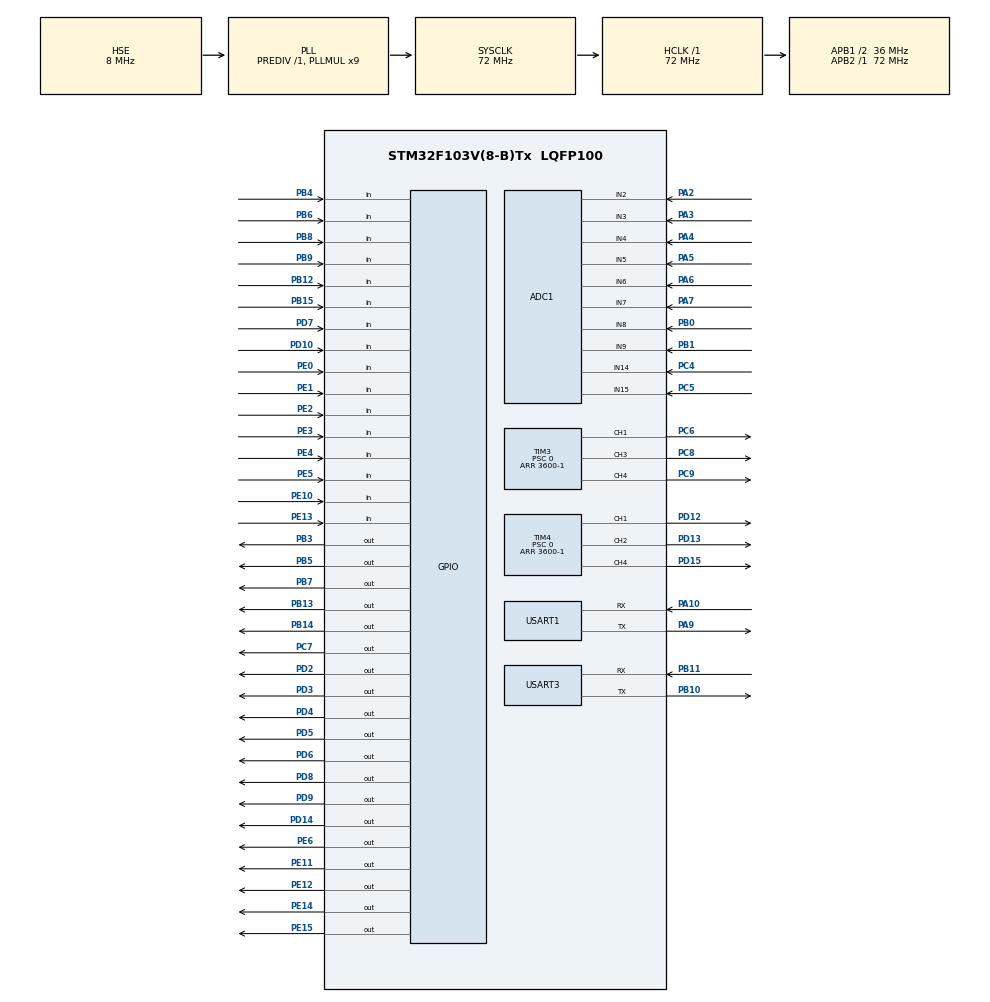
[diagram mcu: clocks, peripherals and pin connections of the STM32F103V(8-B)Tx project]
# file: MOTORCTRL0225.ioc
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ADC1.Channel-0\#ChannelRegularConversion=ADC_CHANNEL_2
ADC1.Channel-1\#ChannelRegularConversion=ADC_CHANNEL_3
ADC1.Channel-10\#ChannelRegularConversion=ADC_CHANNEL_14
ADC1.Channel-11\#ChannelRegularConversion=ADC_CHANNEL_15
ADC1.Channel-2\#ChannelRegularConversion=ADC_CHANNEL_4
ADC1.Channel-3\#ChannelRegularConversion=ADC_CHANNEL_5
ADC1.Channel-4\#ChannelRegularConversion=ADC_CHANNEL_6
ADC1.Channel-5\#ChannelRegularConversion=ADC_CHANNEL_7
ADC1.Channel-8\#ChannelRegularConversion=ADC_CHANNEL_8
ADC1.Channel-9\#ChannelRegularConversion=ADC_CHANNEL_9
ADC1.ContinuousConvMode=ENABLE
ADC1.DataAlign=ADC_DATAALIGN_RIGHT
ADC1.DiscontinuousConvMode=DISABLE
ADC1.EnableAnalogWatchDog=false
ADC1.EnableRegularConversion=ENABLE
ADC1.ExternalTrigConv=ADC_SOFTWARE_START
ADC1.InjNumberOfConversion=0
ADC1.NbrOfConversion=10
ADC1.NbrOfConversionFlag=1
ADC1.Rank-0\#ChannelRegularConversion=1
ADC1.Rank-1\#ChannelRegularConversion=2
ADC1.Rank-10\#ChannelRegularConversion=9
ADC1.Rank-11\#ChannelRegularConversion=10
ADC1.Rank-2\#ChannelRegularConversion=3
ADC1.Rank-3\#ChannelRegularConversion=4
ADC1.Rank-4\#ChannelRegularConversion=5
ADC1.Rank-5\#ChannelRegularConversion=6
ADC1.Rank-8\#ChannelRegularConversion=7
ADC1.Rank-9\#ChannelRegularConversion=8
ADC1.SamplingTime-0\#ChannelRegularConversion=ADC_SAMPLETIME_239CYCLES_5
ADC1.SamplingTime-1\#ChannelRegularConversion=ADC_SAMPLETIME_239CYCLES_5
ADC1.SamplingTime-10\#ChannelRegularConversion=ADC_SAMPLETIME_1CYCLE_5
ADC1.SamplingTime-11\#ChannelRegularConversion=ADC_SAMPLETIME_1CYCLE_5
ADC1.SamplingTime-2\#ChannelRegularConversion=ADC_SAMPLETIME_239CYCLES_5
ADC1.SamplingTime-3\#ChannelRegularConversion=ADC_SAMPLETIME_239CYCLES_5
ADC1.SamplingTime-4\#ChannelRegularConversion=ADC_SAMPLETIME_239CYCLES_5
ADC1.SamplingTime-5\#ChannelRegularConversion=ADC_SAMPLETIME_239CYCLES_5
ADC1.SamplingTime-8\#ChannelRegularConversion=ADC_SAMPLETIME_1CYCLE_5
ADC1.SamplingTime-9\#ChannelRegularConversion=ADC_SAMPLETIME_1CYCLE_5
ADC1.ScanConvMode=ADC_SCAN_ENABLE
ADC1.master=1
Dma.ADC1.4.Direction=DMA_PERIPH_TO_MEMORY
Dma.ADC1.4.Instance=DMA1_Channel1
Dma.ADC1.4.MemDataAlignment=DMA_MDATAALIGN_HALFWORD
Dma.ADC1.4.MemInc=DMA_MINC_ENABLE
Dma.ADC1.4.Mode=DMA_CIRCULAR
Dma.ADC1.4.PeriphDataAlignment=DMA_PDATAALIGN_HALFWORD
Dma.ADC1.4.PeriphInc=DMA_PINC_DISABLE
Dma.ADC1.4.Priority=DMA_PRIORITY_LOW
Dma.Request0=USART3_RX
Dma.Request1=USART3_TX
Dma.Request2=USART1_RX
Dma.Request3=USART1_TX
Dma.Request4=ADC1
Dma.USART1_RX.2.Direction=DMA_PERIPH_TO_MEMORY
Dma.USART1_RX.2.Instance=DMA1_Channel5
Dma.USART1_RX.2.MemDataAlignment=DMA_MDATAALIGN_BYTE
Dma.USART1_RX.2.MemInc=DMA_MINC_ENABLE
Dma.USART1_RX.2.Mode=DMA_CIRCULAR
Dma.USART1_RX.2.PeriphDataAlignment=DMA_PDATAALIGN_BYTE
Dma.USART1_RX.2.PeriphInc=DMA_PINC_DISABLE
Dma.USART1_RX.2.Priority=DMA_PRIORITY_LOW
Dma.USART1_TX.3.Direction=DMA_MEMORY_TO_PERIPH
Dma.USART1_TX.3.Instance=DMA1_Channel4
Dma.USART1_TX.3.MemDataAlignment=DMA_MDATAALIGN_BYTE
Dma.USART1_TX.3.MemInc=DMA_MINC_ENABLE
Dma.USART1_TX.3.Mode=DMA_NORMAL
Dma.USART1_TX.3.PeriphDataAlignment=DMA_PDATAALIGN_BYTE
Dma.USART1_TX.3.PeriphInc=DMA_PINC_DISABLE
Dma.USART1_TX.3.Priority=DMA_PRIORITY_LOW
Dma.USART3_RX.0.Direction=DMA_PERIPH_TO_MEMORY
Dma.USART3_RX.0.Instance=DMA1_Channel3
Dma.USART3_RX.0.MemDataAlignment=DMA_MDATAALIGN_BYTE
Dma.USART3_RX.0.MemInc=DMA_MINC_ENABLE
Dma.USART3_RX.0.Mode=DMA_NORMAL
Dma.USART3_RX.0.PeriphDataAlignment=DMA_PDATAALIGN_BYTE
Dma.USART3_RX.0.PeriphInc=DMA_PINC_DISABLE
Dma.USART3_RX.0.Priority=DMA_PRIORITY_LOW
Dma.USART3_TX.1.Direction=DMA_MEMORY_TO_PERIPH
Dma.USART3_TX.1.Instance=DMA1_Channel2
Dma.USART3_TX.1.MemDataAlignment=DMA_MDATAALIGN_BYTE
Dma.USART3_TX.1.MemInc=DMA_MINC_ENABLE
Dma.USART3_TX.1.Mode=DMA_CIRCULAR
Dma.USART3_TX.1.PeriphDataAlignment=DMA_PDATAALIGN_BYTE
Dma.USART3_TX.1.PeriphInc=DMA_PINC_DISABLE
Dma.USART3_TX.1.Priority=DMA_PRIORITY_LOW
FREERTOS.Tasks01=defaultTask,0,128,StartDefaultTask,Default,NULL,Dynamic,NULL,NULL;myTask02,-3,128,StartTask02,Default,NULL,Dynamic,NULL,NULL;myTask03,-3,128,StartTask03,Default,NULL,Dynamic,NULL,NULL
IWDG.Prescaler=IWDG_PRESCALER_256
Mcu.Family=STM32F1
Mcu.Name=STM32F103V(8-B)Tx
Mcu.Package=LQFP100
NVIC.DMA1_Channel1_IRQn=true\:5\:0\:false\:false\:true\:true\:false
NVIC.DMA1_Channel2_IRQn=true\:5\:0\:false\:false\:true\:true\:false
NVIC.DMA1_Channel3_IRQn=true\:5\:0\:false\:false\:true\:true\:false
NVIC.DMA1_Channel4_IRQn=true\:5\:0\:false\:false\:true\:true\:false
NVIC.DMA1_Channel5_IRQn=true\:5\:0\:false\:false\:true\:true\:false
NVIC.PriorityGroup=NVIC_PRIORITYGROUP_4
NVIC.TIM2_IRQn=true\:5\:0\:false\:false\:true\:true\:true
NVIC.USART1_IRQn=true\:5\:0\:false\:false\:true\:true\:true
NVIC.USART3_IRQn=true\:5\:0\:false\:false\:true\:true\:true
OSC_IN.Mode=HSE-External-Oscillator
OSC_IN.Signal=RCC_OSC_IN
OSC_OUT.Mode=HSE-External-Oscillator
OSC_OUT.Signal=RCC_OSC_OUT
PA10.Mode=Asynchronous
PA10.Signal=USART1_RX
PA13.Mode=Serial_Wire
PA13.Signal=SYS_JTMS-SWDIO
PA14.Mode=Serial_Wire
PA14.Signal=SYS_JTCK-SWCLK
PA2.Signal=ADCx_IN2
PA3.Signal=ADCx_IN3
PA4.Signal=ADCx_IN4
PA5.Signal=ADCx_IN5
PA6.Signal=ADCx_IN6
PA7.Signal=ADCx_IN7
PA9.Mode=Asynchronous
PA9.Signal=USART1_TX
PB0.Signal=ADCx_IN8
PB1.Signal=ADCx_IN9
PB10.Mode=Asynchronous
PB10.Signal=USART3_TX
PB11.Mode=Asynchronous
PB11.Signal=USART3_RX
PB12.Signal=GPIO_Input
PB13.Signal=GPIO_Output
PB14.Signal=GPIO_Output
PB15.Signal=GPIO_Input
PB3.GPIO_Speed=GPIO_SPEED_FREQ_HIGH
PB3.Signal=GPIO_Output
PB4.Signal=GPIO_Input
PB5.Signal=GPIO_Output
PB6.Signal=GPIO_Input
PB7.Signal=GPIO_Output
PB8.Signal=GPIO_Input
PB9.GPIO_PuPd=GPIO_NOPULL
PB9.Signal=GPIO_Input
PC4.Signal=ADCx_IN14
PC5.Signal=ADCx_IN15
PC6.Signal=S_TIM3_CH1
PC7.Signal=GPIO_Output
PC8.Signal=S_TIM3_CH3
PC9.Signal=S_TIM3_CH4
PD10.Signal=GPIO_Input
PD12.Signal=S_TIM4_CH1
PD13.Signal=S_TIM4_CH2
PD14.Signal=GPIO_Output
PD15.Signal=S_TIM4_CH4
PD2.Signal=GPIO_Output
PD3.Signal=GPIO_Output
PD4.Signal=GPIO_Output
PD5.Signal=GPIO_Output
PD6.Signal=GPIO_Output
PD7.Signal=GPIO_Input
PD8.Signal=GPIO_Output
PD9.Signal=GPIO_Output
PE0.GPIO_PuPd=GPIO_NOPULL
PE0.Signal=GPIO_Input
PE1.GPIO_PuPd=GPIO_NOPULL
PE1.Signal=GPIO_Input
PE10.Signal=GPIO_Input
PE11.Signal=GPIO_Output
PE12.Signal=GPIO_Output
PE13.Signal=GPIO_Input
PE14.Signal=GPIO_Output
PE15.Signal=GPIO_Output
PE2.Signal=GPIO_Input
PE3.Signal=GPIO_Input
PE4.Signal=GPIO_Input
PE5.Signal=GPIO_Input
PE6.Signal=GPIO_Output
ProjectManager.HeapSize=0x200
ProjectManager.StackSize=0x400
ProjectManager.TargetToolchain=MDK-ARM V5
RCC.ADCPresc=RCC_ADCPCLK2_DIV8
RCC.AHBFreq_Value=72000000
RCC.APB1CLKDivider=RCC_HCLK_DIV2
RCC.APB1Freq_Value=36000000
RCC.APB1TimFreq_Value=72000000
RCC.APB2Freq_Value=72000000
RCC.APB2TimFreq_Value=72000000
RCC.HCLKFreq_Value=72000000
RCC.PLLMUL=RCC_PLL_MUL9
RCC.PLLSourceVirtual=RCC_PLLSOURCE_HSE
RCC.SYSCLKFreq_VALUE=72000000
RCC.SYSCLKSource=RCC_SYSCLKSOURCE_PLLCLK
RCC.USBFreq_Value=72000000
SH.ADCx_IN14.0=ADC1_IN14,IN14
SH.ADCx_IN15.0=ADC1_IN15,IN15
SH.ADCx_IN2.0=ADC1_IN2,IN2
SH.ADCx_IN3.0=ADC1_IN3,IN3
SH.ADCx_IN4.0=ADC1_IN4,IN4
SH.ADCx_IN5.0=ADC1_IN5,IN5
SH.ADCx_IN6.0=ADC1_IN6,IN6
SH.ADCx_IN7.0=ADC1_IN7,IN7
SH.ADCx_IN8.0=ADC1_IN8,IN8
SH.ADCx_IN9.0=ADC1_IN9,IN9
SH.S_TIM3_CH1.0=TIM3_CH1,PWM Generation1 CH1
SH.S_TIM3_CH3.0=TIM3_CH3,PWM Generation3 CH3
SH.S_TIM3_CH4.0=TIM3_CH4,PWM Generation4 CH4
SH.S_TIM4_CH1.0=TIM4_CH1,PWM Generation1 CH1
SH.S_TIM4_CH2.0=TIM4_CH2,PWM Generation2 CH2
SH.S_TIM4_CH4.0=TIM4_CH4,PWM Generation4 CH4
TIM2.Period=50-1
TIM2.Prescaler=72-1
TIM3.AutoReloadPreload=TIM_AUTORELOAD_PRELOAD_DISABLE
TIM3.Channel-PWM\ Generation1\ CH1=TIM_CHANNEL_1
TIM3.Channel-PWM\ Generation3\ CH3=TIM_CHANNEL_3
TIM3.Channel-PWM\ Generation4\ CH4=TIM_CHANNEL_4
TIM3.OCMode_PWM-PWM\ Generation1\ CH1=TIM_OCMODE_PWM1
TIM3.OCMode_PWM-PWM\ Generation3\ CH3=TIM_OCMODE_PWM1
TIM3.OCMode_PWM-PWM\ Generation4\ CH4=TIM_OCMODE_PWM1
TIM3.OCPolarity_1=TIM_OCPOLARITY_HIGH
TIM3.OCPolarity_3=TIM_OCPOLARITY_HIGH
TIM3.OCPolarity_4=TIM_OCPOLARITY_HIGH
TIM3.Period=3600-1
TIM3.Prescaler=0
TIM4.AutoReloadPreload=TIM_AUTORELOAD_PRELOAD_DISABLE
TIM4.Channel-PWM\ Generation1\ CH1=TIM_CHANNEL_1
TIM4.Channel-PWM\ Generation2\ CH2=TIM_CHANNEL_2
TIM4.Channel-PWM\ Generation4\ CH4=TIM_CHANNEL_4
TIM4.ClockDivision=TIM_CLOCKDIVISION_DIV1
TIM4.OCMode_PWM-PWM\ Generation1\ CH1=TIM_OCMODE_PWM1
TIM4.OCMode_PWM-PWM\ Generation2\ CH2=TIM_OCMODE_PWM1
TIM4.OCMode_PWM-PWM\ Generation4\ CH4=TIM_OCMODE_PWM1
TIM4.OCPolarity_1=TIM_OCPOLARITY_HIGH
TIM4.OCPolarity_2=TIM_OCPOLARITY_HIGH
TIM4.OCPolarity_4=TIM_OCPOLARITY_HIGH
TIM4.Period=3600-1
TIM4.Prescaler=0
USART1.VirtualMode=VM_ASYNC
USART3.VirtualMode=VM_ASYNC
VP_FREERTOS_VS_ENABLE.Mode=Enabled
VP_IWDG_VS_IWDG.Mode=IWDG_Activate
VP_TIM2_VS_ClockSourceINT.Mode=Internal
VP_TIM3_VS_ClockSourceINT.Mode=Internal
VP_TIM4_VS_ClockSourceINT.Mode=Internal
board=custom

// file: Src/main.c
/**
  ******************************************************************************
  * @file           : main.c
  * @brief          : Main program body
  ******************************************************************************
  * This notice applies to any and all portions of this file
  * that are not between comment pairs USER CODE BEGIN and
  * USER CODE END. Other portions of this file, whether
  * inserted by the user or by software development tools
  * are owned by their respective copyright owners.
  *
  * Copyright (c) 2019 STMicroelectronics International N.V.
  * All rights reserved.
  *
  * Redistribution and use in source and binary forms, with or without
  * modification, are permitted, provided that the following conditions are met:
  *
  * 1. Redistribution of source code must retain the above copyright notice,
  *    this list of conditions and the following disclaimer.
  * 2. Redistributions in binary form must reproduce the above copyright notice,
  *    this list of conditions and the following disclaimer in the documentation
  *    and/or other materials provided with the distribution.
  * 3. Neither the name of STMicroelectronics nor the names of other
  *    contributors to this software may be used to endorse or promote products
  *    derived from this software without specific written permission.
  * 4. This software, including modifications and/or derivative works of this
  *    software, must execute solely and exclusively on microcontroller or
  *    microprocessor devices manufactured by or for STMicroelectronics.
  * 5. Redistribution and use of this software other than as permitted under
  *    this license is void and will automatically terminate your rights under
  *    this license.
  *
  * THIS SOFTWARE IS PROVIDED BY STMICROELECTRONICS AND CONTRIBUTORS "AS IS"
  * AND ANY EXPRESS, IMPLIED OR STATUTORY WARRANTIES, INCLUDING, BUT NOT
  * LIMITED TO, THE IMPLIED WARRANTIES OF MERCHANTABILITY, FITNESS FOR A
  * PARTICULAR PURPOSE AND NON-INFRINGEMENT OF THIRD PARTY INTELLECTUAL PROPERTY
  * RIGHTS ARE DISCLAIMED TO THE FULLEST EXTENT PERMITTED BY LAW. IN NO EVENT
  * SHALL STMICROELECTRONICS OR CONTRIBUTORS BE LIABLE FOR ANY DIRECT, INDIRECT,
  * INCIDENTAL, SPECIAL, EXEMPLARY, OR CONSEQUENTIAL DAMAGES (INCLUDING, BUT NOT
  * LIMITED TO, PROCUREMENT OF SUBSTITUTE GOODS OR SERVICES; LOSS OF USE, DATA,
  * OR PROFITS; OR BUSINESS INTERRUPTION) HOWEVER CAUSED AND ON ANY THEORY OF
  * LIABILITY, WHETHER IN CONTRACT, STRICT LIABILITY, OR TORT (INCLUDING
  * NEGLIGENCE OR OTHERWISE) ARISING IN ANY WAY OUT OF THE USE OF THIS SOFTWARE,
  * EVEN IF ADVISED OF THE POSSIBILITY OF SUCH DAMAGE.
  *
  ******************************************************************************
  */
#include "main.h"
#include "stm32f1xx_hal.h"
#include "cmsis_os.h"
#include "adc.h"
#include "dma.h"
#include "iwdg.h"
#include "tim.h"
#include "usart.h"
#include "gpio.h"

/* USER CODE BEGIN Includes */
#include "soft.h"
/* USER CODE END Includes */

/* USER CODE BEGIN PV */
/* Private variables ---------------------------------------------------------*/
uint16_t  uhADCxConvertedValue[80];
/* USER CODE END PV */

void SystemClock_Config(void);
void MX_FREERTOS_Init(void);

/* USER CODE BEGIN PFP */
/* Private function prototypes -----------------------------------------------*/

/* USER CODE END PFP */

int main(void)
{
  /* USER CODE BEGIN 1 */
	u32 t=0;
  /* USER CODE END 1 */

  /* MCU Configuration----------------------------------------------------------*/

  /* Reset of all peripherals, Initializes the Flash interface and the Systick. */
  HAL_Init();

  /* Configure the system clock */
  SystemClock_Config();

  /* Initialize all configured peripherals */
  MX_GPIO_Init();
  MX_DMA_Init();
  MX_ADC1_Init();
  MX_IWDG_Init();
  MX_TIM2_Init();
  MX_TIM3_Init();
  MX_TIM4_Init();
  MX_USART1_UART_Init();
  MX_USART3_UART_Init();
  /* USER CODE BEGIN 2 */

/////////////////////////////////////
	HAL_GPIO_WritePin (GPIOE, GPIO_PIN_12, GPIO_PIN_RESET);					//FAN2 POWER OFF 电磁阀1
	HAL_GPIO_WritePin (GPIOE, GPIO_PIN_15, GPIO_PIN_RESET);					//FAN2 POWER OFF 电磁阀2
	HAL_GPIO_WritePin (GPIOB, GPIO_PIN_13, GPIO_PIN_SET);					//LMOTOR_DIR 推杆电机正转,高电平有效
	HAL_GPIO_WritePin (GPIOD, GPIO_PIN_14, GPIO_PIN_RESET);					//LMOTOR_PLS 推杆电机反转 低电平有效
	HAL_GPIO_WritePin (GPIOD, GPIO_PIN_9, GPIO_PIN_RESET);					//MM POWER OFF 刷盘电机
	HAL_GPIO_WritePin (GPIOD, GPIO_PIN_3, GPIO_PIN_RESET);					//RM POWER OFF 增压泵
	HAL_GPIO_WritePin (GPIOD, GPIO_PIN_6, GPIO_PIN_RESET);					//M1 POWER OFF 吸水电机
	HAL_GPIO_WritePin (GPIOD, GPIO_PIN_5, GPIO_PIN_RESET);					//M2 POWER OFF 工控机

	HAL_GPIO_WritePin (GPIOD, GPIO_PIN_4, GPIO_PIN_SET);					//M3 POWER OFF 警示灯
	HAL_GPIO_WritePin (GPIOB, GPIO_PIN_3, GPIO_PIN_SET);					//MOTOR3_DIR 黄 低电平有效
	HAL_GPIO_WritePin (GPIOC, GPIO_PIN_7, GPIO_PIN_RESET);					//MOTOR3_DIR 绿
	HAL_GPIO_WritePin (GPIOE, GPIO_PIN_14, GPIO_PIN_RESET);					//MOTOR3_DIR 红

	HAL_GPIO_WritePin (GPIOB, GPIO_PIN_5, GPIO_PIN_SET);					//M2 POWER OFF 启动工控机

    HAL_TIM_Base_Start_IT(&htim2);

    HAL_ADCEx_Calibration_Start(&hadc1);
    HAL_ADC_Start_DMA(&hadc1, (uint32_t*)&uhADCxConvertedValue, 80);

    __HAL_UART_ENABLE_IT(&huart3, UART_IT_IDLE);

    if(HAL_UART_Receive_DMA(&huart3, UART3ReceiveData, sizeof(UART3ReceiveData)) != HAL_OK)
    {
        Error_Handler();
    }

  /* USER CODE END 2 */

  /* Call init function for freertos objects (in freertos.c) */
  MX_FREERTOS_Init();

  /* Start scheduler */
  osKernelStart();

  /* We should never get here as control is now taken by the scheduler */

  /* Infinite loop */
    while (1)
    {

    }

}

void SystemClock_Config(void)
{

  RCC_OscInitTypeDef RCC_OscInitStruct;
  RCC_ClkInitTypeDef RCC_ClkInitStruct;
  RCC_PeriphCLKInitTypeDef PeriphClkInit;

    /**Initializes the CPU, AHB and APB busses clocks
    */
  RCC_OscInitStruct.OscillatorType = RCC_OSCILLATORTYPE_LSI|RCC_OSCILLATORTYPE_HSE;
  RCC_OscInitStruct.HSEState = RCC_HSE_ON;
  RCC_OscInitStruct.HSEPredivValue = RCC_HSE_PREDIV_DIV1;
  RCC_OscInitStruct.HSIState = RCC_HSI_ON;
  RCC_OscInitStruct.LSIState = RCC_LSI_ON;
  RCC_OscInitStruct.PLL.PLLState = RCC_PLL_ON;
  RCC_OscInitStruct.PLL.PLLSource = RCC_PLLSOURCE_HSE;
  RCC_OscInitStruct.PLL.PLLMUL = RCC_PLL_MUL9;
  if (HAL_RCC_OscConfig(&RCC_OscInitStruct) != HAL_OK)
  {
    _Error_Handler(__FILE__, __LINE__);
  }

    /**Initializes the CPU, AHB and APB busses clocks
    */
  RCC_ClkInitStruct.ClockType = RCC_CLOCKTYPE_HCLK|RCC_CLOCKTYPE_SYSCLK
                              |RCC_CLOCKTYPE_PCLK1|RCC_CLOCKTYPE_PCLK2;
  RCC_ClkInitStruct.SYSCLKSource = RCC_SYSCLKSOURCE_PLLCLK;
  RCC_ClkInitStruct.AHBCLKDivider = RCC_SYSCLK_DIV1;
  RCC_ClkInitStruct.APB1CLKDivider = RCC_HCLK_DIV2;
  RCC_ClkInitStruct.APB2CLKDivider = RCC_HCLK_DIV1;

  if (HAL_RCC_ClockConfig(&RCC_ClkInitStruct, FLASH_LATENCY_2) != HAL_OK)
  {
    _Error_Handler(__FILE__, __LINE__);
  }

  PeriphClkInit.PeriphClockSelection = RCC_PERIPHCLK_ADC;
  PeriphClkInit.AdcClockSelection = RCC_ADCPCLK2_DIV8;
  if (HAL_RCCEx_PeriphCLKConfig(&PeriphClkInit) != HAL_OK)
  {
    _Error_Handler(__FILE__, __LINE__);
  }

    /**Configure the Systick interrupt time
    */
  HAL_SYSTICK_Config(HAL_RCC_GetHCLKFreq()/1000);

    /**Configure the Systick
    */
  HAL_SYSTICK_CLKSourceConfig(SYSTICK_CLKSOURCE_HCLK);

  /* SysTick_IRQn interrupt configuration */
  HAL_NVIC_SetPriority(SysTick_IRQn, 15, 0);
}

void _Error_Handler(char *file, int line)
{
    while(1)
    {
    }
}

/************************ (C) COPYRIGHT STMicroelectronics *****END OF FILE****/

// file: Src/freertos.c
/* USER CODE BEGIN Header */
/**
  ******************************************************************************
  * File Name          : freertos.c
  * Description        : Code for freertos applications
  ******************************************************************************
  * This notice applies to any and all portions of this file
  * that are not between comment pairs USER CODE BEGIN and
  * USER CODE END. Other portions of this file, whether
  * inserted by the user or by software development tools
  * are owned by their respective copyright owners.
  *
  * Copyright (c) 2019 STMicroelectronics International N.V.
  * All rights reserved.
  *
  * Redistribution and use in source and binary forms, with or without
  * modification, are permitted, provided that the following conditions are met:
  *
  * 1. Redistribution of source code must retain the above copyright notice,
  *    this list of conditions and the following disclaimer.
  * 2. Redistributions in binary form must reproduce the above copyright notice,
  *    this list of conditions and the following disclaimer in the documentation
  *    and/or other materials provided with the distribution.
  * 3. Neither the name of STMicroelectronics nor the names of other
  *    contributors to this software may be used to endorse or promote products
  *    derived from this software without specific written permission.
  * 4. This software, including modifications and/or derivative works of this
  *    software, must execute solely and exclusively on microcontroller or
  *    microprocessor devices manufactured by or for STMicroelectronics.
  * 5. Redistribution and use of this software other than as permitted under
  *    this license is void and will automatically terminate your rights under
  *    this license.
  *
  * THIS SOFTWARE IS PROVIDED BY STMICROELECTRONICS AND CONTRIBUTORS "AS IS"
  * AND ANY EXPRESS, IMPLIED OR STATUTORY WARRANTIES, INCLUDING, BUT NOT
  * LIMITED TO, THE IMPLIED WARRANTIES OF MERCHANTABILITY, FITNESS FOR A
  * PARTICULAR PURPOSE AND NON-INFRINGEMENT OF THIRD PARTY INTELLECTUAL PROPERTY
  * RIGHTS ARE DISCLAIMED TO THE FULLEST EXTENT PERMITTED BY LAW. IN NO EVENT
  * SHALL STMICROELECTRONICS OR CONTRIBUTORS BE LIABLE FOR ANY DIRECT, INDIRECT,
  * INCIDENTAL, SPECIAL, EXEMPLARY, OR CONSEQUENTIAL DAMAGES (INCLUDING, BUT NOT
  * LIMITED TO, PROCUREMENT OF SUBSTITUTE GOODS OR SERVICES; LOSS OF USE, DATA,
  * OR PROFITS; OR BUSINESS INTERRUPTION) HOWEVER CAUSED AND ON ANY THEORY OF
  * LIABILITY, WHETHER IN CONTRACT, STRICT LIABILITY, OR TORT (INCLUDING
  * NEGLIGENCE OR OTHERWISE) ARISING IN ANY WAY OUT OF THE USE OF THIS SOFTWARE,
  * EVEN IF ADVISED OF THE POSSIBILITY OF SUCH DAMAGE.
  *
  ******************************************************************************
  */
/* USER CODE END Header */

#include "FreeRTOS.h"
#include "task.h"
#include "main.h"
#include "cmsis_os.h"

/* USER CODE BEGIN Includes */
#include "soft.h"
#include "iwdg.h"
/* USER CODE END Includes */

/* USER CODE BEGIN Variables */
u8 stop_run=0;
/* USER CODE END Variables */
osThreadId defaultTaskHandle;
osThreadId myTask02Handle;
osThreadId myTask03Handle;

void StartDefaultTask(void const * argument);
void StartTask02(void const * argument);
void StartTask03(void const * argument);

void MX_FREERTOS_Init(void); /* (MISRA C 2004 rule 8.1) */

void MX_FREERTOS_Init(void) {

  /* Create the thread(s) */
  /* definition and creation of defaultTask */
  osThreadDef(defaultTask, StartDefaultTask, osPriorityNormal, 0, 128);
  defaultTaskHandle = osThreadCreate(osThread(defaultTask), NULL);

  /* definition and creation of myTask02 */
  osThreadDef(myTask02, StartTask02, osPriorityIdle, 0, 128);
  myTask02Handle = osThreadCreate(osThread(myTask02), NULL);

  /* definition and creation of myTask03 */
  osThreadDef(myTask03, StartTask03, osPriorityIdle, 0, 128);
  myTask03Handle = osThreadCreate(osThread(myTask03), NULL);

}

void StartDefaultTask(void const * argument)
{

  /* USER CODE BEGIN StartDefaultTask */
	static u32 left_electrode=0;
	static u32 right_electrode=0;

    /* Infinite loop */
    for(;;)
    {
        osDelay(10);
		//检测到充电极片插入到位
		if (((account_current(3)<2000) && (account_current(4)<2000))	//接触电极检测，两个电极同时接触，通知机器停止
			|| (left_electrode>50) || (right_electrode>50))		//单个电极接触超过500ms，通知机器停止
        {
					HAL_GPIO_WritePin (GPIOE, GPIO_PIN_11, GPIO_PIN_SET);  	//提供5v信号，通知工控机停止移动，开始充电

					HAL_GPIO_WritePin (GPIOB, GPIO_PIN_3, GPIO_PIN_RESET);					//MOTOR3_DIR 黄 低电平有效
					HAL_GPIO_WritePin (GPIOC, GPIO_PIN_7, GPIO_PIN_RESET);					//MOTOR3_DIR 绿
					HAL_GPIO_WritePin (GPIOE, GPIO_PIN_14, GPIO_PIN_SET);					//MOTOR3_DIR 红

					osDelay(10000);
					if ((account_current(3)<2000) && (account_current(4)<2000))
					{
						HAL_GPIO_WritePin (GPIOD, GPIO_PIN_5, GPIO_PIN_SET);					//M2 POWER    changing on
					}

        }

		if ((account_current(3)>2000) && (account_current(4)>2000))
		{
			HAL_GPIO_WritePin (GPIOE, GPIO_PIN_11, GPIO_PIN_RESET);  	//提供0v信号，通知工控机不在充电状态

			left_electrode=0;
			right_electrode=0;

			HAL_GPIO_WritePin (GPIOB, GPIO_PIN_3, GPIO_PIN_SET);					//MOTOR3_DIR 黄 低电平有效
			HAL_GPIO_WritePin (GPIOC, GPIO_PIN_7, GPIO_PIN_RESET);					//MOTOR3_DIR 绿
			HAL_GPIO_WritePin (GPIOE, GPIO_PIN_14, GPIO_PIN_RESET);					//MOTOR3_DIR 红

			HAL_GPIO_WritePin (GPIOD, GPIO_PIN_5, GPIO_PIN_RESET);					//M2 POWER    changing OFF
		}

		if (account_current(3)<2000)
		{
			left_electrode++;
		}
		if (account_current(4)<2000)
		{
			right_electrode++;
		}

		if (account_current(2)<2000)		 //电池电压不足，小于3.5v
		{
			HAL_GPIO_WritePin (GPIOE, GPIO_PIN_11, GPIO_PIN_SET);  					//提供5v信号，通知工控机停止移动
			HAL_GPIO_WritePin (GPIOD, GPIO_PIN_3, GPIO_PIN_RESET); 					//关闭抽水泵
			HAL_GPIO_WritePin (GPIOE, GPIO_PIN_12, GPIO_PIN_RESET);					//FAN1 POWER OFF 电磁阀1
			HAL_GPIO_WritePin (GPIOE, GPIO_PIN_15, GPIO_PIN_RESET);					//FAN2 POWER OFF 电磁阀2
			HAL_GPIO_WritePin (GPIOD, GPIO_PIN_9, GPIO_PIN_RESET);					//MM POWER OFF 刷盘电机
			osDelay(200);
			HAL_GPIO_WritePin (GPIOD, GPIO_PIN_6, GPIO_PIN_RESET);					//M1 POWER OFF 吸水电机
			osDelay(200);
			HAL_GPIO_WritePin (GPIOB, GPIO_PIN_13, GPIO_PIN_SET);					//LMOTOR_DIR 推杆电机正转,高电平有效
			HAL_GPIO_WritePin (GPIOD, GPIO_PIN_14, GPIO_PIN_SET);					//LMOTOR_PLS 推杆电机反转 低电平有效
			osDelay(5000);
			HAL_GPIO_WritePin (GPIOB, GPIO_PIN_13, GPIO_PIN_SET);					//LMOTOR_DIR 推杆电机正转,高电平有效
			HAL_GPIO_WritePin (GPIOD, GPIO_PIN_14, GPIO_PIN_RESET);					//LMOTOR_PLS 推杆电机反转 低电平有效
			HAL_GPIO_WritePin (GPIOB, GPIO_PIN_5, GPIO_PIN_RESET);					//M2 POWER OFF 关闭工控机

			stop_run=1;
			while(1)
			{
				HAL_GPIO_WritePin (GPIOB, GPIO_PIN_3, GPIO_PIN_SET);					//MOTOR3_DIR 黄 低电平有效
				HAL_GPIO_WritePin (GPIOC, GPIO_PIN_7, GPIO_PIN_RESET);					//MOTOR3_DIR 绿
				HAL_GPIO_WritePin (GPIOE, GPIO_PIN_14, GPIO_PIN_RESET);					//MOTOR3_DIR 红
				osDelay(500);
				HAL_GPIO_WritePin (GPIOB, GPIO_PIN_3, GPIO_PIN_RESET);					//MOTOR3_DIR 黄 低电平有效
				HAL_GPIO_WritePin (GPIOC, GPIO_PIN_7, GPIO_PIN_RESET);					//MOTOR3_DIR 绿
				HAL_GPIO_WritePin (GPIOE, GPIO_PIN_14, GPIO_PIN_SET);					//MOTOR3_DIR 红
				osDelay(500);
			}
		}

    }
  /* USER CODE END StartDefaultTask */
}

void StartTask02(void const * argument)
{
  /* USER CODE BEGIN StartTask02 */
    static u32 clear_stop_time=0,move_base_ring_old=0;
    static uint8_t flagworking = 0;
	static u32 chouwu=0;
    /* Infinite loop */
    for(;;)
    {
        osDelay(200);
		while(stop_run)		//停机
		{
			osDelay(1000);
		}
        if((flagworking == 0) && (s_and.error_code == 0))
        {
            if(move_base_ring_old < move_base_ring) //move base starts moving
            {
                if((move_base_ring - move_base_ring_old) >= 5) //at least 20 pluses per 200ms
                {

					HAL_GPIO_WritePin (GPIOB, GPIO_PIN_3, GPIO_PIN_RESET);					//MOTOR3_DIR 黄 低电平有效
					HAL_GPIO_WritePin (GPIOC, GPIO_PIN_7, GPIO_PIN_SET);					//MOTOR3_DIR 绿
					HAL_GPIO_WritePin (GPIOE, GPIO_PIN_14, GPIO_PIN_RESET);					//MOTOR3_DIR 红

                    HAL_GPIO_WritePin (GPIOE, GPIO_PIN_12, GPIO_PIN_SET);					//FAN1 POWER OFF 电磁阀1
					HAL_GPIO_WritePin (GPIOE, GPIO_PIN_15, GPIO_PIN_SET);						//FAN2 POWER OFF 电磁阀2
					HAL_GPIO_WritePin (GPIOB, GPIO_PIN_13, GPIO_PIN_RESET);					//LMOTOR_DIR 推杆电机正转,高电平有效
					HAL_GPIO_WritePin (GPIOD, GPIO_PIN_14, GPIO_PIN_RESET);					//LMOTOR_PLS 推杆电机反转 低电平有效
					osDelay(3000);
                    HAL_GPIO_WritePin (GPIOD, GPIO_PIN_9, GPIO_PIN_SET);					//MM POWER OFF 刷盘电机
					osDelay(200);
					HAL_GPIO_WritePin (GPIOD, GPIO_PIN_6, GPIO_PIN_SET);					//M1 POWER OFF 吸水电机

                    clear_stop_time = 30;
                    flagworking = 1;
                }
            }
        }
        else//(flagworking != 0)
        {
			if((move_base_ring - move_base_ring_old) < 2) //no more than 20 pluses per 200ms
				clear_stop_time--;
			else
				clear_stop_time = 30;

            if(clear_stop_time <= 0) //error
            {
				HAL_GPIO_WritePin (GPIOE, GPIO_PIN_12, GPIO_PIN_RESET);					//FAN1 POWER OFF 电磁阀1
				HAL_GPIO_WritePin (GPIOE, GPIO_PIN_15, GPIO_PIN_RESET);					//FAN2 POWER OFF 电磁阀2
				HAL_GPIO_WritePin (GPIOD, GPIO_PIN_9, GPIO_PIN_RESET);					//MM POWER OFF 刷盘电机
				osDelay(200);
				HAL_GPIO_WritePin (GPIOD, GPIO_PIN_6, GPIO_PIN_RESET);					//M1 POWER OFF 吸水电机
				osDelay(200);
                move_base_ring = 0;
                move_base_ring_old = 0;
                clear_stop_time = 0;
                flagworking = 0;
				HAL_GPIO_WritePin (GPIOB, GPIO_PIN_13, GPIO_PIN_SET);					//LMOTOR_DIR 推杆电机正转,高电平有效
				HAL_GPIO_WritePin (GPIOD, GPIO_PIN_14, GPIO_PIN_SET);					//LMOTOR_PLS 推杆电机反转 低电平有效
				osDelay(5000);
				HAL_GPIO_WritePin (GPIOB, GPIO_PIN_13, GPIO_PIN_SET);					//LMOTOR_DIR 推杆电机正转,高电平有效
				HAL_GPIO_WritePin (GPIOD, GPIO_PIN_14, GPIO_PIN_RESET);					//LMOTOR_PLS 推杆电机反转 低电平有效

				HAL_GPIO_WritePin (GPIOB, GPIO_PIN_3, GPIO_PIN_SET);					//MOTOR3_DIR 黄 低电平有效
				HAL_GPIO_WritePin (GPIOC, GPIO_PIN_7, GPIO_PIN_RESET);					//MOTOR3_DIR 绿
				HAL_GPIO_WritePin (GPIOE, GPIO_PIN_14, GPIO_PIN_RESET);					//MOTOR3_DIR 红
            }

			if((move_base_ring - move_base_ring_old) < 2)
			{
				HAL_GPIO_WritePin (GPIOE, GPIO_PIN_12, GPIO_PIN_RESET);					//FAN1 POWER OFF 电磁阀1
				HAL_GPIO_WritePin (GPIOE, GPIO_PIN_15, GPIO_PIN_RESET);					//FAN2 POWER OFF 电磁阀2
			}
			else if((move_base_ring - move_base_ring_old) < 50)	//控制水阀
			{
				HAL_GPIO_WritePin (GPIOE, GPIO_PIN_12, GPIO_PIN_SET);					//FAN1 POWER OFF 电磁阀1
				HAL_GPIO_WritePin (GPIOE, GPIO_PIN_15, GPIO_PIN_RESET);					//FAN2 POWER OFF 电磁阀2
			}
			else	//控制水阀
			{
				HAL_GPIO_WritePin (GPIOE, GPIO_PIN_12, GPIO_PIN_SET);					//FAN1 POWER OFF 电磁阀1
				HAL_GPIO_WritePin (GPIOE, GPIO_PIN_15, GPIO_PIN_SET);					//FAN2 POWER OFF 电磁阀2
			}
        }//(flagworking == 1)

		if ((HAL_GPIO_ReadPin(GPIOB, GPIO_PIN_8) == GPIO_PIN_SET)	//污水箱开始满，开始抽水过滤,高电平有效
        &&(HAL_GPIO_ReadPin(GPIOE, GPIO_PIN_0) == GPIO_PIN_RESET))
				{
				HAL_GPIO_WritePin (GPIOD, GPIO_PIN_3, GPIO_PIN_SET);  	//打开抽水增压泵
        chouwu=300;
				}

		if(HAL_GPIO_ReadPin(GPIOB, GPIO_PIN_9) == GPIO_PIN_SET)  //抽污完成，低电平有效
		{
			chouwu=300;
		}
		else if(chouwu>0)
		{
			chouwu--;
		}
		if(chouwu==0)  	//关闭抽水增压泵
		{
			HAL_GPIO_WritePin (GPIOD, GPIO_PIN_3, GPIO_PIN_RESET);
		}

		if(HAL_GPIO_ReadPin(GPIOE, GPIO_PIN_0) == GPIO_PIN_SET)  //净水满，高电平有效
		{
			//显示报警
			chouwu=0;
			HAL_GPIO_WritePin (GPIOD, GPIO_PIN_3, GPIO_PIN_RESET);  	//关闭抽水增压泵
			//水箱满警报
		}

        move_base_ring_old = move_base_ring;
    }//for(;;)
  /* USER CODE END StartTask02 */
}

void StartTask03(void const * argument)
{
  /* USER CODE BEGIN StartTask03 */
    /* Infinite loop */
    for(;;)
    {
        HAL_IWDG_Refresh(&hiwdg);
        osDelay(200);
        HAL_GPIO_TogglePin(GPIOE,GPIO_PIN_6);   //RUN LED FLASH
//		 Alarm();
//		  if(s_and.error_code ) //error
//            {
//				HAL_GPIO_WritePin (GPIOE, GPIO_PIN_12, GPIO_PIN_RESET);					//FAN2 POWER OFF 电磁阀
//				HAL_GPIO_WritePin (GPIOE, GPIO_PIN_15, GPIO_PIN_RESET);					//FAN2 POWER OFF 没有使用
//				HAL_GPIO_WritePin (GPIOB, GPIO_PIN_13, GPIO_PIN_SET);					//LMOTOR_DIR 推杆电机正转
//				HAL_GPIO_WritePin (GPIOD, GPIO_PIN_14, GPIO_PIN_SET);					//LMOTOR_PLS 推杆电机反转，低电平有效
//				HAL_GPIO_WritePin (GPIOD, GPIO_PIN_9, GPIO_PIN_RESET);					//MM POWER OFF 刷盘电机
//				HAL_GPIO_WritePin (GPIOD, GPIO_PIN_3, GPIO_PIN_RESET);					//RM POWER OFF 增压泵
//				HAL_GPIO_WritePin (GPIOD, GPIO_PIN_6, GPIO_PIN_RESET);					//M1 POWER OFF 吸水电机
//				HAL_GPIO_WritePin (GPIOD, GPIO_PIN_5, GPIO_PIN_RESET);					//M2 POWER OFF 没有使用
//				HAL_GPIO_WritePin (GPIOD, GPIO_PIN_4, GPIO_PIN_RESET);					//M3 POWER OFF 警示灯
//            }
    }
  /* USER CODE END StartTask03 */
}

/************************ (C) COPYRIGHT STMicroelectronics *****END OF FILE****/
